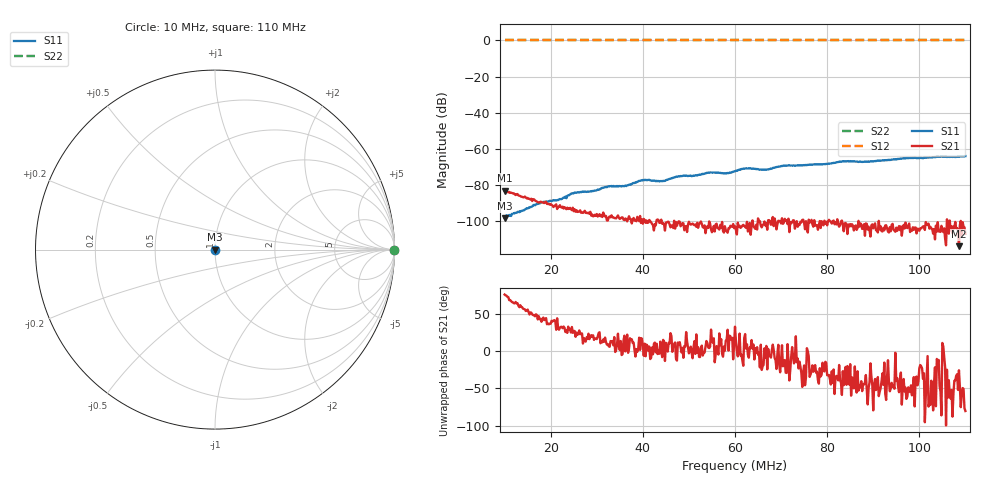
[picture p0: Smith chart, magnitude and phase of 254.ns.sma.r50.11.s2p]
! Anritsu VNA Master:  Model: MS2036C/10/77
! SN:  1601066
! /card0/usr/254.ns.sma.r50.11.s2p
! Existing Calibration Information:
! TYPE:  Current Settings,  Active Cal Settings
! TIME:  12/20/2017 01:28:39 PM,  12/20/2017 01:21:26 PM
! INTERNAL TEMP:  45.0 C,  44.5 C
! # POINTS:  501,  501
! START FREQ:  10.000 MHz,  10.000 MHz
! STOP FREQ:  110.000 MHz,  110.000 MHz
! SOURCE POWER:  High,  High
! IFBW:  100 Hz,  100 Hz
! AVG FACTOR:  1 ,  1
! REF PLANE 1:  0 mm,  0 mm
! REF PLANE 2:  0 mm,  0 mm
! CAL TYPE:  Full S11,  Full S11
! CAL METHOD:  SOLT,  SOLT
! CAL LINE TYPE:  Coax,  Coax
! DUT PORT 1:  N-Conn(F),  N-Conn(F)
! DUT PORT 2:  K-Conn(F),  K-Conn(F)
! CAL STATUS:  OK: Accuracy High,  --
# GHZ S DB R 50.0
! FREQ.GHZ  S11DB  S11A  S21DB  S21A  S12DB  S12A  S22DB  S22A
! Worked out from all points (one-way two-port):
!   501 points, 10 MHz to 110 MHz, reference 50 ohm
!   highest |S21| = -83.25 dB at 10 MHz (marker M1); lowest = -114.1 dB at 108.6 MHz (marker M2)
!   lowest |S11| = -98.6 dB at 10 MHz (marker M3), VSWR 1.00, Z = 50 - j0.000436 ohm
!   |S11| at or under -10 dB: start of sweep to end of sweep
!   |S22| runs from 0.0 to 0.0 dB; largest |S21 - S12| = 1
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0.01  -98.58 -21.7  -83.25 76.2  0.00 0.0  0.00 0.0
0.0268  -83.99 -32.7  -95.45 23.9  0.00 0.0  0.00 0.0
0.037  -80.12 -42.6  -97.50 3.9  0.00 0.0  0.00 0.0
0.0402  -77.47 -41.4  -98.99 -6.1  0.00 0.0  0.00 0.0
0.0434  -77.94 -36.0  -99.59 1.5  0.00 0.0  0.00 0.0
0.0446  -77.94 -43.1  -102.00 13.0  0.00 0.0  0.00 0.0
0.0486  -75.12 -45.7  -101.31 4.6  0.00 0.0  0.00 0.0
0.051  -75.08 -46.2  -102.14 5.4  0.00 0.0  0.00 0.0
0.0546  -73.21 -48.2  -101.67 6.2  0.00 0.0  0.00 0.0
0.0582  -73.60 -49.7  -105.97 16.1  0.00 0.0  0.00 0.0
0.06  -72.54 -58.5  -103.06 33.0  0.00 0.0  0.00 0.0
0.0622  -71.07 -55.7  -103.46 23.1  0.00 0.0  0.00 0.0
0.0666  -71.71 -53.1  -102.67 -8.6  0.00 0.0  0.00 0.0
0.0704  -69.58 -61.7  -101.72 -20.1  0.00 0.0  0.00 0.0
0.0768  -68.86 -61.6  -101.98 -18.9  0.00 0.0  0.00 0.0
0.0798  -68.46 -65.2  -100.56 -15.4  0.00 0.0  0.00 0.0
0.0834  -67.02 -68.8  -102.24 -26.8  0.00 0.0  0.00 0.0
0.0884  -67.28 -69.0  -101.50 -32.0  0.00 0.0  0.00 0.0
0.0934  -66.31 -76.0  -106.52 -40.2  0.00 0.0  0.00 0.0
0.0976  -65.23 -77.3  -102.62 -48.5  0.00 0.0  0.00 0.0
0.1086  -64.48 -81.8  -114.11 -25.6  0.00 0.0  0.00 0.0
0.11  -64.19 -81.7  -107.27 -80.3  0.00 0.0  0.00 0.0
